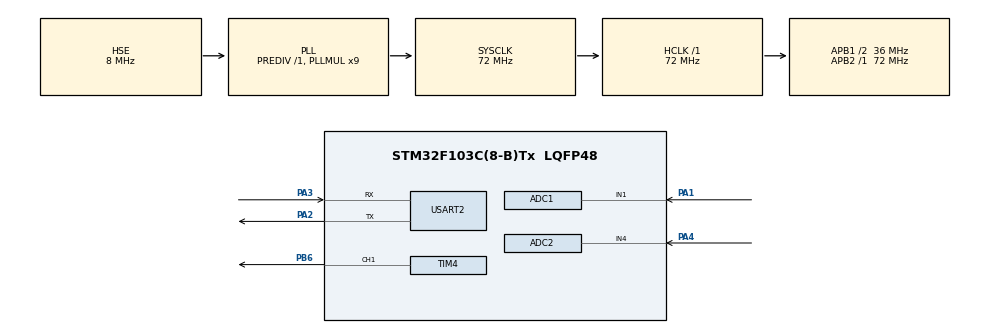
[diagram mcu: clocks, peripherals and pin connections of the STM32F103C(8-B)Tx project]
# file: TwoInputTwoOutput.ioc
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ADC1.Channel-0\#ChannelRegularConversion=ADC_CHANNEL_1
ADC1.ContinuousConvMode=ENABLE
ADC1.Mode=__NULL
ADC1.NbrOfConversionFlag=1
ADC1.Rank-0\#ChannelRegularConversion=1
ADC1.SamplingTime-0\#ChannelRegularConversion=ADC_SAMPLETIME_1CYCLE_5
ADC1.master=1
ADC2.Channel-1\#ChannelRegularConversion=ADC_CHANNEL_4
ADC2.ContinuousConvMode=ENABLE
ADC2.NbrOfConversion=1
ADC2.NbrOfConversionFlag=1
ADC2.Rank-1\#ChannelRegularConversion=1
ADC2.SamplingTime-1\#ChannelRegularConversion=ADC_SAMPLETIME_1CYCLE_5
Mcu.Family=STM32F1
Mcu.Name=STM32F103C(8-B)Tx
Mcu.Package=LQFP48
NVIC.PriorityGroup=NVIC_PRIORITYGROUP_4
PA1.Signal=ADCx_IN1
PA13.Mode=Serial_Wire
PA13.Signal=SYS_JTMS-SWDIO
PA14.Mode=Serial_Wire
PA14.Signal=SYS_JTCK-SWCLK
PA2.Mode=Asynchronous
PA2.Signal=USART2_TX
PA3.Mode=Asynchronous
PA3.Signal=USART2_RX
PA4.Signal=ADCx_IN4
PB6.Signal=S_TIM4_CH1
PD0-OSC_IN.Mode=HSE-External-Oscillator
PD0-OSC_IN.Signal=RCC_OSC_IN
PD1-OSC_OUT.Mode=HSE-External-Oscillator
PD1-OSC_OUT.Signal=RCC_OSC_OUT
ProjectManager.HeapSize=0x200
ProjectManager.StackSize=0x400
ProjectManager.TargetToolchain=STM32CubeIDE
RCC.ADCPresc=RCC_ADCPCLK2_DIV6
RCC.AHBFreq_Value=72000000
RCC.APB1CLKDivider=RCC_HCLK_DIV2
RCC.APB1Freq_Value=36000000
RCC.APB1TimFreq_Value=72000000
RCC.APB2Freq_Value=72000000
RCC.APB2TimFreq_Value=72000000
RCC.HCLKFreq_Value=72000000
RCC.PLLMUL=RCC_PLL_MUL9
RCC.PLLSourceVirtual=RCC_PLLSOURCE_HSE
RCC.SYSCLKFreq_VALUE=72000000
RCC.SYSCLKSource=RCC_SYSCLKSOURCE_PLLCLK
RCC.USBFreq_Value=72000000
SH.ADCx_IN1.0=ADC1_IN1,IN1
SH.ADCx_IN4.0=ADC2_IN4,IN4
SH.S_TIM4_CH1.0=TIM4_CH1,PWM Generation1 CH1
TIM4.Channel-PWM\ Generation1\ CH1=TIM_CHANNEL_1
USART2.VirtualMode=VM_ASYNC
board=custom

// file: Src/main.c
/* USER CODE BEGIN Header */
/**
 ******************************************************************************
 * @file           : main.c
 * @brief          : Main program body
 ******************************************************************************
 * @attention
 *
 * <h2><center>&copy; Copyright (c) 2019 STMicroelectronics.
 * All rights reserved.</center></h2>
 *
 * This software component is licensed by ST under BSD 3-Clause license,
 * the "License"; You may not use this file except in compliance with the
 * License. You may obtain a copy of the License at:
 *                        opensource.org/licenses/BSD-3-Clause
 *
 ******************************************************************************
 */
/* USER CODE END Header */

#include "main.h"

/* USER CODE BEGIN Includes */

#include <math.h>
#include <string.h>
#include <stdio.h>

/* USER CODE END Includes */

ADC_HandleTypeDef hadc1;
ADC_HandleTypeDef hadc2;

TIM_HandleTypeDef htim4;

UART_HandleTypeDef huart2;

void SystemClock_Config(void);
static void MX_GPIO_Init(void);
static void MX_ADC1_Init(void);
static void MX_TIM4_Init(void);
static void MX_USART2_UART_Init(void);
static void MX_ADC2_Init(void);

/* USER CODE BEGIN 0 */

typedef struct {
	double period;
	double prevIn;
	double result;

} Integrator;

double integrate(Integrator * integrator, double input) {
	integrator->result = input * integrator->period + integrator->result;
	return integrator->result;
}

/* USER CODE END 0 */

int main(void) {

	/* MCU Configuration--------------------------------------------------------*/

	/* Reset of all peripherals, Initializes the Flash interface and the Systick. */
	HAL_Init();

	/* Configure the system clock */
	SystemClock_Config();

	/* Initialize all configured peripherals */
	MX_GPIO_Init();
	MX_ADC1_Init();
	MX_TIM4_Init();
	MX_USART2_UART_Init();
	MX_ADC2_Init();

	/* Infinite loop */
	/* USER CODE BEGIN WHILE */

	//HAL_ADC_Start_IT(&hadc2);
	//HAL_ADC_Start_IT(&hadc1);

	uint32_t iter = 0;

	double in1 = 0;
	double pi = 3.1415926;
	double sinPeriod = 0.5;
	double period = 0.001052;
	double periodSquared = 0.000001106704;
	double M = 1;
	double Ks = 2;
	double Kd = 0.5;
	double x = 0;
	double xPrev = 0;
	double xPrevPrev = 0;

//	HAL_UART_Transmit(&huart2, (uint8_t*) "Inicio \r\n", strlen("Inicio \r\n"),
//			HAL_MAX_DELAY);

	while (1) {
		//Calculate inputs

		if (iter <= 47530) {

			in1 = 2048 + 2048 * sin((period * iter * 2 * pi) / sinPeriod);

		xPrevPrev = xPrev;
		xPrev = x;
		x = (x*(Kd*period + 2)-xPrevPrev-periodSquared/M * in1)/(1+(Kd*period)/M+(periodSquared*Ks)/M);

			char str[200];
			char valIN1[20];
			char valIout[20];

			gcvt(in1, 8, valIN1);
			gcvt(x, 10, valIout);
			//gcvt(Vout, 10, valVout);

			sprintf(str, "%lu, %9s, %11s\r\n", iter, valIN1,
					valIout);

			HAL_UART_Transmit(&huart2, (uint8_t*) str, strlen(str),
			HAL_MAX_DELAY);

			iter++;

		}

		/* USER CODE END WHILE */

	}
}

void SystemClock_Config(void) {
	RCC_OscInitTypeDef RCC_OscInitStruct = { 0 };
	RCC_ClkInitTypeDef RCC_ClkInitStruct = { 0 };
	RCC_PeriphCLKInitTypeDef PeriphClkInit = { 0 };

	/** Initializes the CPU, AHB and APB busses clocks
	 */
	RCC_OscInitStruct.OscillatorType = RCC_OSCILLATORTYPE_HSE;
	RCC_OscInitStruct.HSEState = RCC_HSE_ON;
	RCC_OscInitStruct.HSEPredivValue = RCC_HSE_PREDIV_DIV1;
	RCC_OscInitStruct.HSIState = RCC_HSI_ON;
	RCC_OscInitStruct.PLL.PLLState = RCC_PLL_ON;
	RCC_OscInitStruct.PLL.PLLSource = RCC_PLLSOURCE_HSE;
	RCC_OscInitStruct.PLL.PLLMUL = RCC_PLL_MUL9;
	if (HAL_RCC_OscConfig(&RCC_OscInitStruct) != HAL_OK) {
		Error_Handler();
	}
	/** Initializes the CPU, AHB and APB busses clocks
	 */
	RCC_ClkInitStruct.ClockType = RCC_CLOCKTYPE_HCLK | RCC_CLOCKTYPE_SYSCLK
			| RCC_CLOCKTYPE_PCLK1 | RCC_CLOCKTYPE_PCLK2;
	RCC_ClkInitStruct.SYSCLKSource = RCC_SYSCLKSOURCE_PLLCLK;
	RCC_ClkInitStruct.AHBCLKDivider = RCC_SYSCLK_DIV1;
	RCC_ClkInitStruct.APB1CLKDivider = RCC_HCLK_DIV2;
	RCC_ClkInitStruct.APB2CLKDivider = RCC_HCLK_DIV1;

	if (HAL_RCC_ClockConfig(&RCC_ClkInitStruct, FLASH_LATENCY_2) != HAL_OK) {
		Error_Handler();
	}
	PeriphClkInit.PeriphClockSelection = RCC_PERIPHCLK_ADC;
	PeriphClkInit.AdcClockSelection = RCC_ADCPCLK2_DIV6;
	if (HAL_RCCEx_PeriphCLKConfig(&PeriphClkInit) != HAL_OK) {
		Error_Handler();
	}
}

static void MX_ADC1_Init(void) {

	ADC_ChannelConfTypeDef sConfig = { 0 };

	/** Common config
	 */
	hadc1.Instance = ADC1;
	hadc1.Init.ScanConvMode = ADC_SCAN_DISABLE;
	hadc1.Init.ContinuousConvMode = ENABLE;
	hadc1.Init.DiscontinuousConvMode = DISABLE;
	hadc1.Init.ExternalTrigConv = ADC_SOFTWARE_START;
	hadc1.Init.DataAlign = ADC_DATAALIGN_RIGHT;
	hadc1.Init.NbrOfConversion = 1;
	if (HAL_ADC_Init(&hadc1) != HAL_OK) {
		Error_Handler();
	}
	/** Configure Regular Channel
	 */
	sConfig.Channel = ADC_CHANNEL_1;
	sConfig.Rank = ADC_REGULAR_RANK_1;
	sConfig.SamplingTime = ADC_SAMPLETIME_1CYCLE_5;
	if (HAL_ADC_ConfigChannel(&hadc1, &sConfig) != HAL_OK) {
		Error_Handler();
	}
	/* USER CODE BEGIN ADC1_Init 2 */

//  HAL_NVIC_SetPriority(ADC1_IRQn, 0, 0);
//  HAL_NVIC_EnableIRQ(ADC1_IRQn);
	/* USER CODE END ADC1_Init 2 */

}

static void MX_ADC2_Init(void) {

	ADC_ChannelConfTypeDef sConfig = { 0 };

	/** Common config
	 */
	hadc2.Instance = ADC2;
	hadc2.Init.ScanConvMode = ADC_SCAN_DISABLE;
	hadc2.Init.ContinuousConvMode = ENABLE;
	hadc2.Init.DiscontinuousConvMode = DISABLE;
	hadc2.Init.ExternalTrigConv = ADC_SOFTWARE_START;
	hadc2.Init.DataAlign = ADC_DATAALIGN_RIGHT;
	hadc2.Init.NbrOfConversion = 1;
	if (HAL_ADC_Init(&hadc2) != HAL_OK) {
		Error_Handler();
	}
	/** Configure Regular Channel
	 */
	sConfig.Channel = ADC_CHANNEL_4;
	sConfig.Rank = ADC_REGULAR_RANK_1;
	sConfig.SamplingTime = ADC_SAMPLETIME_1CYCLE_5;
	if (HAL_ADC_ConfigChannel(&hadc2, &sConfig) != HAL_OK) {
		Error_Handler();
	}

}

static void MX_TIM4_Init(void) {

	TIM_MasterConfigTypeDef sMasterConfig = { 0 };
	TIM_OC_InitTypeDef sConfigOC = { 0 };

	htim4.Instance = TIM4;
	htim4.Init.Prescaler = 0;
	htim4.Init.CounterMode = TIM_COUNTERMODE_UP;
	htim4.Init.Period = 0;
	htim4.Init.ClockDivision = TIM_CLOCKDIVISION_DIV1;
	htim4.Init.AutoReloadPreload = TIM_AUTORELOAD_PRELOAD_DISABLE;
	if (HAL_TIM_PWM_Init(&htim4) != HAL_OK) {
		Error_Handler();
	}
	sMasterConfig.MasterOutputTrigger = TIM_TRGO_RESET;
	sMasterConfig.MasterSlaveMode = TIM_MASTERSLAVEMODE_DISABLE;
	if (HAL_TIMEx_MasterConfigSynchronization(&htim4, &sMasterConfig)
			!= HAL_OK) {
		Error_Handler();
	}
	sConfigOC.OCMode = TIM_OCMODE_PWM1;
	sConfigOC.Pulse = 0;
	sConfigOC.OCPolarity = TIM_OCPOLARITY_HIGH;
	sConfigOC.OCFastMode = TIM_OCFAST_DISABLE;
	if (HAL_TIM_PWM_ConfigChannel(&htim4, &sConfigOC, TIM_CHANNEL_1)
			!= HAL_OK) {
		Error_Handler();
	}
	HAL_TIM_MspPostInit(&htim4);

}

static void MX_USART2_UART_Init(void) {

	huart2.Instance = USART2;
	huart2.Init.BaudRate = 115200;
	huart2.Init.WordLength = UART_WORDLENGTH_8B;
	huart2.Init.StopBits = UART_STOPBITS_1;
	huart2.Init.Parity = UART_PARITY_NONE;
	huart2.Init.Mode = UART_MODE_TX_RX;
	huart2.Init.HwFlowCtl = UART_HWCONTROL_NONE;
	huart2.Init.OverSampling = UART_OVERSAMPLING_16;
	if (HAL_UART_Init(&huart2) != HAL_OK) {
		Error_Handler();
	}

}

static void MX_GPIO_Init(void) {

	/* GPIO Ports Clock Enable */
	__HAL_RCC_GPIOD_CLK_ENABLE()
	;
	__HAL_RCC_GPIOA_CLK_ENABLE()
	;
	__HAL_RCC_GPIOB_CLK_ENABLE()
	;

}

/* USER CODE BEGIN 4 */

void ADC_IRQHandler(void) {
	HAL_ADC_IRQHandler(&hadc1);
}

void HAL_ADC_ConvCpltCallback(ADC_HandleTypeDef* hadc) {
//	HAL_GPIO_WritePin(Toggle_GPIO_Port, Toggle_Pin, GPIO_PIN_SET);
//
//	double aux1 = (double)(OneMinusPeriodOverTau) * prevOut;
//	double aux2 = (double)(periodOverTau) * prevIn;
//
//	prevOut = aux1 + aux2;
//
//	TIM4->CCR1 = (uint32_t) prevOut;
//
//	prevIn = (double) HAL_ADC_GetValue(hadc);
//	HAL_GPIO_WritePin(Toggle_GPIO_Port, Toggle_Pin, GPIO_PIN_RESET);

	char str[60];
//	char valADC1[10];
//	char valADC2[10];
	//gcvt();

	sprintf(str, "ADC1: %4lu ADC2: %4lu\r\n", HAL_ADC_GetValue(&hadc1),
			HAL_ADC_GetValue(&hadc2));
	HAL_UART_Transmit(&huart2, (uint8_t*) str, strlen(str), HAL_MAX_DELAY);

}

/* USER CODE END 4 */

void Error_Handler(void) {
}

/************************ (C) COPYRIGHT STMicroelectronics *****END OF FILE****/
